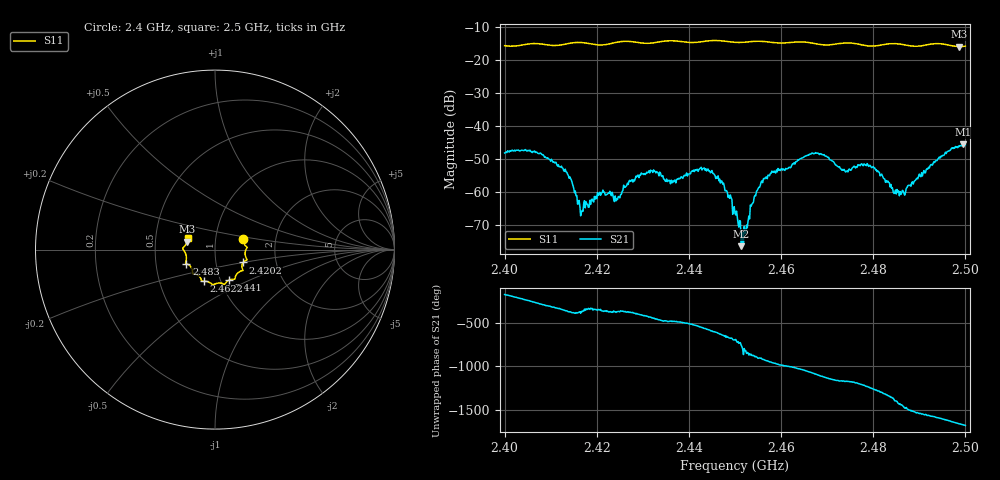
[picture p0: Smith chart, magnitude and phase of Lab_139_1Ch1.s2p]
# Hz S RI R 50
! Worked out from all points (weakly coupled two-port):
!   601 points, 2.4 GHz to 2.5 GHz, reference 50 ohm
!   highest |S21| = -45.48 dB at 2.4995 GHz (marker M1); lowest = -76.4 dB at 2.4513 GHz (marker M2)
!   lowest |S11| = -15.8 dB at 2.4987 GHz (marker M3), VSWR 1.39, Z = 36.4 + j3.29 ohm
!   |S11| at or under -10 dB: start of sweep to end of sweep
!   S12 and S22 are empty: the file has one direction only
!   S11 on the Smith chart (normalised r, x): 2.4 GHz: 1.36, +0.17; 2.4202 GHz: 1.35, -0.20; 2.441 GHz: 1.10, -0.39; 2.4622 GHz: 0.83, -0.30; 2.483 GHz: 0.72, -0.12; 2.5 GHz: 0.73, +0.09
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2.4e9  0.1563 0.0602  -0.00392 -0.000406  0 0  0 0
2.410667e9  0.168 -0.0148  0.00218 0.0019  0 0  0 0
2.414e9  0.1745 -0.0494  0.0016 -0.000323  0 0  0 0
2.416667e9  0.1777 -0.0582  0.000491 -6.56e-05  0 0  0 0
2.420167e9  0.1564 -0.0719  0.000984 0.000111  0 0  0 0
2.424167e9  0.1528 -0.1087  0.000698 -0.000246  0 0  0 0
2.429e9  0.1437 -0.1198  0.0014 -0.00116  0 0  0 0
2.433333e9  0.1132 -0.1522  -0.000449 -0.0019  0 0  0 0
2.436333e9  0.1103 -0.1656  -0.0008 -0.00114  0 0  0 0
2.441e9  0.0769 -0.1705  -0.00206 -0.000674  0 0  0 0
2.446667e9  0.0498 -0.1933  -5.39e-05 0.00158  0 0  0 0
2.45e9  0.0266 -0.1862  0.000422 0.000222  0 0  0 0
2.451333e9  0.0136 -0.1873  0.000123 -8.93e-05  0 0  0 0
2.456167e9  -0.0145 -0.1935  -0.00151 0.000527  0 0  0 0
2.462167e9  -0.0629 -0.1765  0.000612 0.00232  0 0  0 0
2.466667e9  -0.0767 -0.1671  0.0039 0.000443  0 0  0 0
2.483e9  -0.1593 -0.0781  -0.000541 0.00132  0 0  0 0
2.483333e9  -0.1608 -0.0774  -0.000305 0.00138  0 0  0 0
2.4865e9  -0.1616 -0.0639  0.000991 -0.00033  0 0  0 0
2.498667e9  -0.1556 0.044  -0.00379 0.00316  0 0  0 0
2.4995e9  -0.1532 0.0556  -0.00333 0.00414  0 0  0 0
2.5e9  -0.1526 0.0626  -0.00272 0.00446  0 0  0 0
